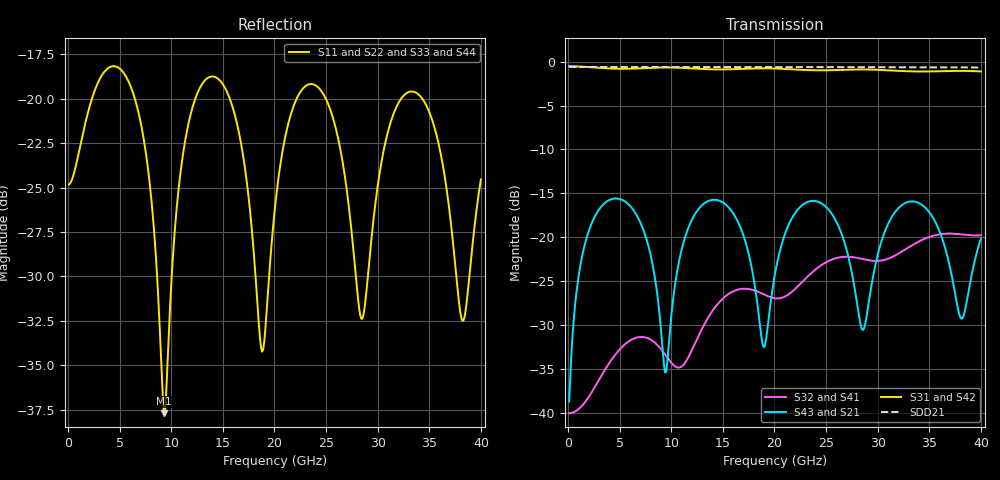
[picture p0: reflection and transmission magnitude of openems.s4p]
! thru_BV_ts_m2_per0_out: 2×thru In3.Cu, 8 mm, pair
! stackup: as the board case
! ports: 1 near, 2 near, 3 far, 4 far
! openEMS 0.37.0, staircase, fine mesh (dfine 0.0175 mm), 709560 cells
# Hz S RI R 50
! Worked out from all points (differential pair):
!   400 points, 100 MHz to 40 GHz, reference 50 ohm
!   strongest paths, dB at 100 MHz, 10.1 GHz, 20.1 GHz, 30.1 GHz, 40 GHz:
!     S31: -0.5, -0.7, -0.8, -0.9, -1.1
!     S42: -0.5, -0.7, -0.8, -0.9, -1.1
!     S43: -38.7, -27.9, -23.9, -21.5, -20.2
!     S21: -38.7, -27.9, -23.9, -21.5, -20.2
!     S32: -40.1, -34.4, -27.0, -22.7, -19.8
!     S41: -40.1, -34.4, -27.0, -22.7, -19.8
!   taken as a pair (ports 1,2 in; 3,4 out), SDD21 dB: -0.6, -0.6, -0.6, -0.6, -0.7
!   lowest |S11| = -37.7 dB at 9.3 GHz (marker M1), VSWR 1.03, Z = 51.3 + j0.137 ohm
!   |S11| at or under -10 dB: start of sweep to end of sweep
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1e8  -0.057 0.00629  0.0101 0.00561  0.9421 -0.0332  0.00986 -0.00122
     0.0101 0.00561  -0.057 0.00629  0.00986 -0.00122  0.9421 -0.0332
     0.9421 -0.0332  0.00986 -0.00122  -0.057 0.00629  0.0101 0.00561
     0.00986 -0.00122  0.9421 -0.0332  0.0101 0.00561  -0.057 0.00629
4.1e9  0.1057 0.0628  0.162 0.0247  0.1464 -0.902  -0.00651 0.0185
       0.162 0.0247  0.1057 0.0628  -0.00651 0.0185  0.1464 -0.902
       0.1464 -0.902  -0.00651 0.0185  0.1057 0.0628  0.162 0.0247
       -0.00651 0.0185  0.1464 -0.902  0.162 0.0247  0.1057 0.0628
9.3e9  0.013 0.00134  0.0168 -0.00798  -0.9266 0.0262  0.0058 -0.0211
       0.0168 -0.00798  0.013 0.00134  0.0058 -0.0211  -0.9266 0.0262
       -0.9266 0.0262  0.0058 -0.0211  0.013 0.00134  0.0168 -0.00798
       0.0058 -0.0211  -0.9266 0.0262  0.0168 -0.00798  0.013 0.00134
1.81e10  0.0276 -0.019  0.0311 -0.0425  0.9089 0.1076  -0.0218 0.0446
         0.0311 -0.0425  0.0276 -0.019  -0.0218 0.0446  0.9089 0.1076
         0.9089 0.1076  -0.0218 0.0446  0.0276 -0.019  0.0311 -0.0425
         -0.0218 0.0446  0.9089 0.1076  0.0311 -0.0425  0.0276 -0.019
2.35e10  0.1089 0.0157  0.1602 -0.0114  -0.1471 -0.8821  0.0562 0.026
         0.1602 -0.0114  0.1089 0.0157  0.0562 0.026  -0.1471 -0.8821
         -0.1471 -0.8821  0.0562 0.026  0.1089 0.0157  0.1602 -0.0114
         0.0562 0.026  -0.1471 -0.8821  0.1602 -0.0114  0.1089 0.0157
3.24e10  0.0965 0.0303  0.1532 0.00472  0.0645 0.8818  -0.0752 -0.0358
         0.1532 0.00472  0.0965 0.0303  -0.0752 -0.0358  0.0645 0.8818
         0.0645 0.8818  -0.0752 -0.0358  0.0965 0.0303  0.1532 0.00472
         -0.0752 -0.0358  0.0645 0.8818  0.1532 0.00472  0.0965 0.0303
4e10  0.0447 0.0389  0.0911 0.0362  0.3885 -0.7894  0.066 0.0787
      0.0911 0.0362  0.0447 0.0389  0.066 0.0787  0.3885 -0.7894
      0.3885 -0.7894  0.066 0.0787  0.0447 0.0389  0.0911 0.0362
      0.066 0.0787  0.3885 -0.7894  0.0911 0.0362  0.0447 0.0389
